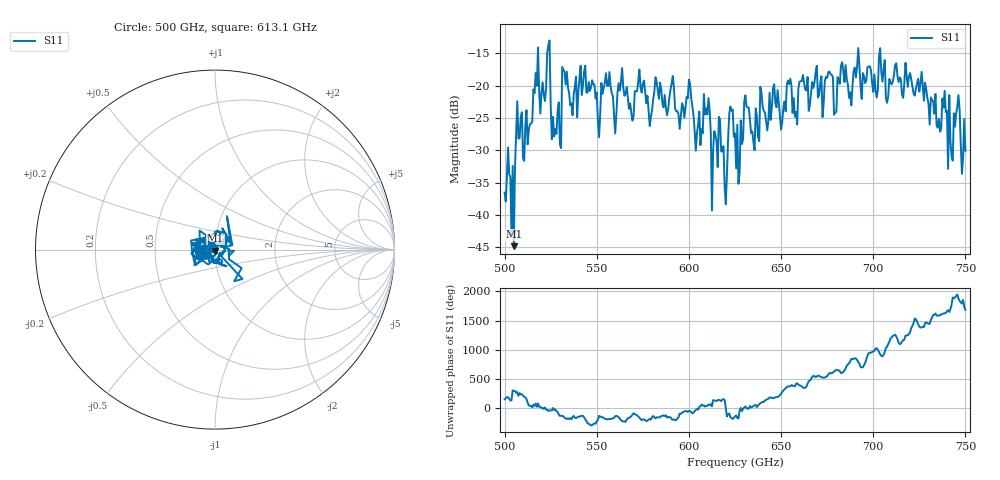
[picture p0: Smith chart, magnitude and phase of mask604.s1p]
!Created with skrf (http://scikit-rf.org).
# GHz S MA R 50.0
!freq magS11 angS11
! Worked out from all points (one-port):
!   401 points, 500 GHz to 750 GHz, reference 50 ohm
!   lowest |S11| = -44.8 dB at 505 GHz (marker M1), VSWR 1.01, Z = 50.2 - j0.55 ohm
!   |S11| at or under -10 dB: start of sweep to end of sweep
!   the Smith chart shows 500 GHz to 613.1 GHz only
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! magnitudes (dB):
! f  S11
! 500 GHz  -36.6
! 505 GHz  -44.8
! 507.5 GHz  -28.2
! 513.8 GHz  -26.0
! 516.9 GHz  -18.0
! 520.6 GHz  -19.5
! 523.8 GHz  -13.7
! 526.9 GHz  -27.9
! 531.2 GHz  -17.1
! 532.5 GHz  -17.9
! 550.6 GHz  -25.5
! 562.5 GHz  -20.8
! 568.8 GHz  -24.2
! 590.6 GHz  -19.6
! 593.8 GHz  -23.9
! 609.4 GHz  -23.5
! 619.4 GHz  -35.6
! 622.5 GHz  -23.2
! 625 GHz  -27.4
! 656.2 GHz  -24.2
! 687.5 GHz  -21.0
! 691.2 GHz  -17.0
! 718.8 GHz  -20.2
! 735.6 GHz  -25.1
! 738.8 GHz  -20.8
! 741.9 GHz  -28.5
! 745.6 GHz  -23.2
! 750 GHz  -30.1
